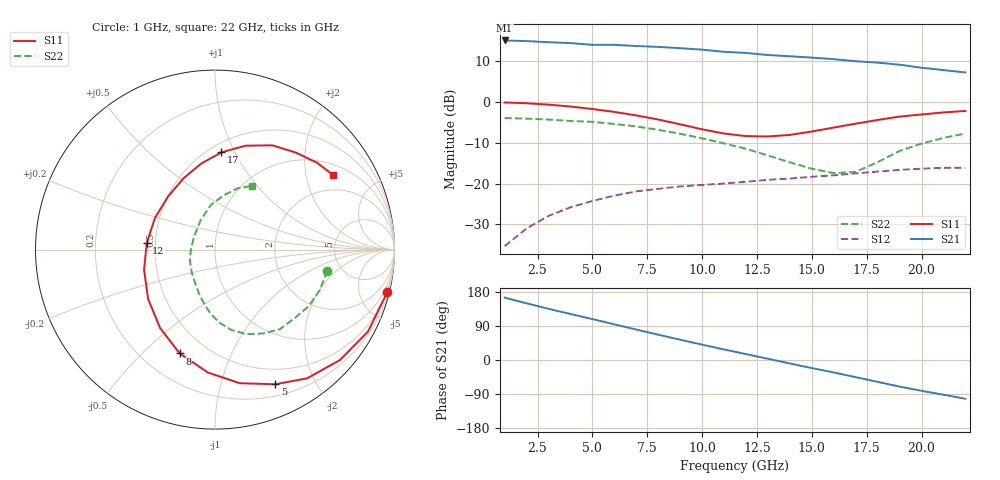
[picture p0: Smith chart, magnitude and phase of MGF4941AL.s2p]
! MGF4941AL  (VDS=2V, lDS=10mA, Ta=room temperature)
! S-parameters f=1-22GHz
! Board: er=2.2, 0.25mmt.
! --May/2007--
# GHz S MA R 50
!  f  S11  S21  S12  S22
! (GHz)  Magn.  Angle  Magn.  Angle  Magn.  Angle  Magn.  Angle
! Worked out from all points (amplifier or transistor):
!   22 points, 1 GHz to 22 GHz, reference 50 ohm
!   highest |S21| = 15.1 dB at 1 GHz (marker M1)
!   |S21| within 3 dB of that: start of sweep to 11.75 GHz
!   unconditionally stable (mu >= 1): 10.35 GHz to 16.8 GHz
!   at 4 GHz: K = 0.41, MSG = 20.2 dB, |S12| = -25.8 dB
!   at 12 GHz: K = 1.09, MAG = 14.0 dB, |S12| = -19.6 dB
!   at 22 GHz: K = 0.73, MSG = 11.7 dB, |S12| = -16.1 dB
!   lowest NFmin = 0.20 dB at 2 GHz
!   S11 on the Smith chart (normalised r, x): 1 GHz: 0.38, -8.19; 5 GHz: 0.32, -1.49; 8 GHz: 0.35, -0.65; 12 GHz: 0.45, +0.04; 17 GHz: 0.58, +0.89; 22 GHz: 1.36, +2.87
1  0.989 -13.9  5.71 164.6  0.017 78.9  0.637 -10.6
2  0.967 -28.2  5.607 149.6  0.028 70.9  0.626 -21.1
3  0.929 -41.5  5.432 135.0  0.04 61.7  0.61 -31.1
4  0.882 -54.4  5.305 121.5  0.051 53.3  0.586 -40.5
5  0.822 -65.9  5.046 108.0  0.061 45.9  0.572 -50.8
6  0.757 -79.5  5.045 94.1  0.071 37.6  0.538 -60.3
7  0.686 -93.3  4.881 80.4  0.08 29.9  0.502 -69.8
8  0.611 -108.8  4.759 66.8  0.086 22.7  0.456 -78.6
9  0.533 -125.1  4.587 53.6  0.092 16.2  0.408 -86.5
10  0.463 -143.6  4.403 40.5  0.096 10.2  0.359 -93.8
11  0.411 -164.1  4.14 27.8  0.1 4.8  0.311 -100.7
12  0.382 174.7  4.01 15.6  0.105 0.1  0.267 -108.9
13  0.378 152.3  3.782 3.3  0.111 -4.7  0.221 -119.3
14  0.395 131.4  3.653 -9.1  0.115 -9.7  0.182 -135.4
15  0.435 113.6  3.514 -21.3  0.121 -14.6  0.152 -157.0
16  0.486 99.0  3.366 -32.9  0.126 -19.8  0.134 177.7
17  0.543 86.2  3.172 -45.3  0.133 -25.5  0.139 145.4
18  0.603 73.7  3.049 -57.7  0.14 -31.2  0.183 115.8
19  0.663 61.2  2.877 -70.2  0.147 -37.9  0.251 95.1
20  0.704 50.1  2.641 -81.3  0.152 -45.0  0.309 80.2
21  0.746 40.5  2.47 -91.5  0.156 -52.4  0.363 70.0
22  0.778 32.3  2.311 -102.3  0.156 -58.0  0.411 59.8
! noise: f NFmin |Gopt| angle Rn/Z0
2  0.2  0.671  13.9  0.37
4  0.22  0.598  37.2  0.262
6  0.25  0.537  60.8  0.197
8  0.29  0.474  86.2  0.155
10  0.32  0.399  119.2  0.102
12  0.35  0.329  147.6  0.062
14  0.4  0.299  173.6  0.069
16  0.49  0.349  -143.9  0.083
18  0.59  0.392  -106.5  0.109
22  0.96  0.467  -42.7  0.18
